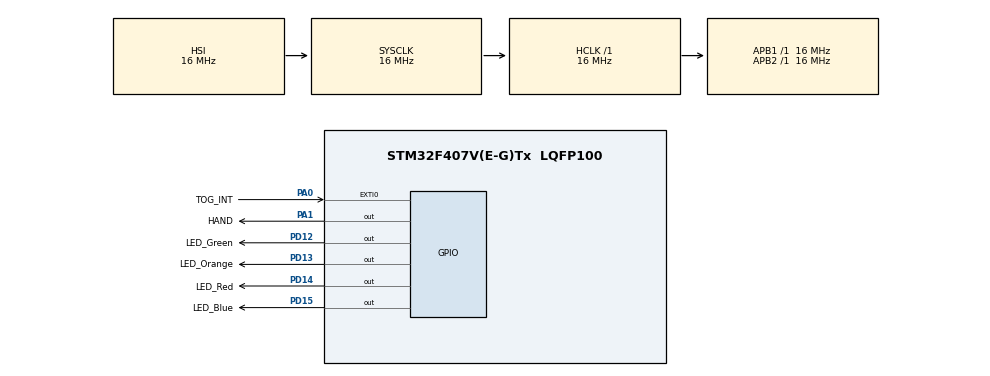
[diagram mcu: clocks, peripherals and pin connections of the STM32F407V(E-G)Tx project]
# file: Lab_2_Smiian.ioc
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Mcu.Family=STM32F4
Mcu.Name=STM32F407V(E-G)Tx
Mcu.Package=LQFP100
NVIC.EXTI0_IRQn=true\:0\:0\:false\:false\:true\:true\:true\:true
NVIC.PriorityGroup=NVIC_PRIORITYGROUP_4
PA0-WKUP.GPIO_Label=TOG_INT
PA0-WKUP.GPIO_ModeDefaultEXTI=GPIO_MODE_IT_RISING
PA0-WKUP.GPIO_PuPd=GPIO_NOPULL
PA0-WKUP.Signal=GPXTI0
PA1.GPIO_Label=HAND
PA1.GPIO_ModeDefaultOutputPP=GPIO_MODE_OUTPUT_PP
PA1.GPIO_PuPd=GPIO_PULLUP
PA1.PinState=GPIO_PIN_RESET
PA1.Signal=GPIO_Output
PA13.Mode=Serial_Wire
PA13.Signal=SYS_JTMS-SWDIO
PA14.Mode=Serial_Wire
PA14.Signal=SYS_JTCK-SWCLK
PD12.GPIO_Label=LED_Green
PD12.Signal=GPIO_Output
PD13.GPIO_Label=LED_Orange
PD13.Signal=GPIO_Output
PD14.GPIO_Label=LED_Red
PD14.Signal=GPIO_Output
PD15.GPIO_Label=LED_Blue
PD15.Signal=GPIO_Output
ProjectManager.HeapSize=0x200
ProjectManager.StackSize=0x400
ProjectManager.TargetToolchain=MDK-ARM V5.32
RCC.AHBFreq_Value=16000000
RCC.APB1Freq_Value=16000000
RCC.APB2Freq_Value=16000000
RCC.CortexFreq_Value=16000000
RCC.HSE_VALUE=25000000
RCC.HSI_VALUE=16000000
RCC.LSE_VALUE=32768
RCC.SYSCLKFreq_VALUE=16000000
RCC.VCOOutputFreq_Value=192000000
board=custom

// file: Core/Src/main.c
/* USER CODE BEGIN Header */
/**
  ******************************************************************************
  * @file           : main.c
  * @brief          : Main program body
  ******************************************************************************
  * @attention
  *
  * Copyright (c) 2024 STMicroelectronics.
  * All rights reserved.
  *
  * This software is licensed under terms that can be found in the LICENSE file
  * in the root directory of this software component.
  * If no LICENSE file comes with this software, it is provided AS-IS.
  *
  ******************************************************************************
  */
/* USER CODE END Header */
#include "main.h"
#include "gpio.h"

/* USER CODE BEGIN Includes */
#include "led.h"
/* USER CODE END Includes */

/* USER CODE BEGIN PD */
typedef enum
{
    REVERSE = 0,
    FORWARD = 1
}direction_e_t;
/* USER CODE END PD */

/* USER CODE BEGIN PV */
led_color_e_t current_led = RED;
direction_e_t direction = FORWARD;
/* USER CODE END PV */

void SystemClock_Config(void);

int main(void)
{

  /* MCU Configuration--------------------------------------------------------*/

  /* Reset of all peripherals, Initializes the Flash interface and the Systick. */
  HAL_Init();

  /* Configure the system clock */
  SystemClock_Config();

  /* Initialize all configured peripherals */
  MX_GPIO_Init();
  /* USER CODE BEGIN 2 */
  led_init();
  /* USER CODE END 2 */

  /* Infinite loop */
  while (1)
  {

  }
}

void SystemClock_Config(void)
{
  RCC_OscInitTypeDef RCC_OscInitStruct = {0};
  RCC_ClkInitTypeDef RCC_ClkInitStruct = {0};

  /** Configure the main internal regulator output voltage
  */
  __HAL_RCC_PWR_CLK_ENABLE();
  __HAL_PWR_VOLTAGESCALING_CONFIG(PWR_REGULATOR_VOLTAGE_SCALE1);

  /** Initializes the RCC Oscillators according to the specified parameters
  * in the RCC_OscInitTypeDef structure.
  */
  RCC_OscInitStruct.OscillatorType = RCC_OSCILLATORTYPE_HSI;
  RCC_OscInitStruct.HSIState = RCC_HSI_ON;
  RCC_OscInitStruct.HSICalibrationValue = RCC_HSICALIBRATION_DEFAULT;
  RCC_OscInitStruct.PLL.PLLState = RCC_PLL_NONE;
  if (HAL_RCC_OscConfig(&RCC_OscInitStruct) != HAL_OK)
  {
    Error_Handler();
  }

  /** Initializes the CPU, AHB and APB buses clocks
  */
  RCC_ClkInitStruct.ClockType = RCC_CLOCKTYPE_HCLK|RCC_CLOCKTYPE_SYSCLK
                              |RCC_CLOCKTYPE_PCLK1|RCC_CLOCKTYPE_PCLK2;
  RCC_ClkInitStruct.SYSCLKSource = RCC_SYSCLKSOURCE_HSI;
  RCC_ClkInitStruct.AHBCLKDivider = RCC_SYSCLK_DIV1;
  RCC_ClkInitStruct.APB1CLKDivider = RCC_HCLK_DIV1;
  RCC_ClkInitStruct.APB2CLKDivider = RCC_HCLK_DIV1;

  if (HAL_RCC_ClockConfig(&RCC_ClkInitStruct, FLASH_LATENCY_0) != HAL_OK)
  {
    Error_Handler();
  }
}

/* USER CODE BEGIN 4 */
void HAL_GPIO_EXTI_Callback(uint16_t GPIO_Pin)
{
    if (GPIO_Pin == TOG_INT_Pin)
    {
        led_set (current_led, OFF);
        switch (direction)
        {
            case FORWARD:
            {
                current_led++;
                if (current_led == ALL)
                {
                    current_led = RED;
                }
                break;
            }
            case REVERSE:
            {
                if (current_led == RED)
                {
                    current_led = ALL;
                }
                current_led--;
                break;
            }
            default:
               break;
        }
        led_set (current_led, ON);
    }
}
/* USER CODE END 4 */

void Error_Handler(void)
{
  __disable_irq();
  while (1)
  {
  }
}
